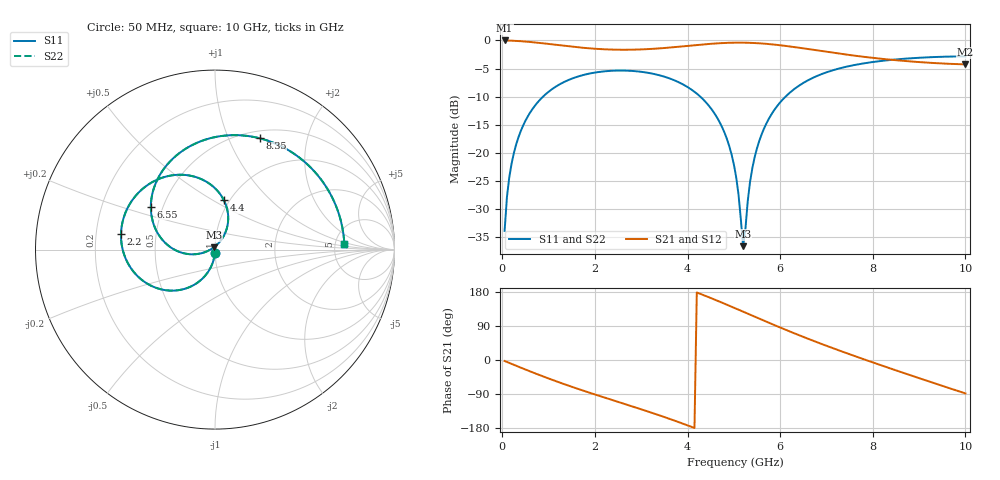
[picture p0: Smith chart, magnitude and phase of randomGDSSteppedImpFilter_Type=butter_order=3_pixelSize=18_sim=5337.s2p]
! freq	dB(S11)	phase(S11)	dB(S12)	phase(S12)
!  dB(S21)	phase(S21)	dB(S22)	phase(S22)
!S-par simulation data
#  GHz  S  DB  R 50
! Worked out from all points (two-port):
!   200 points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, 50 MHz to 10 GHz, reference 50 ohm
!   highest |S21| = 0.00 dB at 50 MHz (marker M1); lowest = -4.3 dB at 10 GHz (marker M2)
!   |S21| within 3 dB of the highest: start of sweep to 7.895 GHz
!   lowest |S11| = -36.6 dB at 5.2 GHz (marker M3), VSWR 1.03, Z = 49.4 + j1.31 ohm
!   |S11| at or under -10 dB: start of sweep to 880.9 MHz; 4.274 GHz to 6.117 GHz (1.843 GHz wide, 35.5 % of centre)
!   |S22| runs from -36.5 to -2.8 dB; largest |S21 - S12| = 0
!   S11 on the Smith chart (normalised r, x): 50 MHz: 1.00, -0.04; 2.2 GHz: 0.31, +0.07; 4.4 GHz: 0.94, +0.56; 6.55 GHz: 0.43, +0.25; 8.35 GHz: 0.58, +1.31; 10 GHz: 6.06, +0.83
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0.05  -33.91 -92.6  -0.00 -2.6  -0.00 -2.6  -33.91 -92.6
0.1  -27.91 -95.3  -0.01 -5.1  -0.01 -5.1  -27.91 -95.3
0.2  -21.95 -100.6  -0.04 -10.2  -0.04 -10.2  -21.95 -100.6
0.5  -14.30 -115.7  -0.20 -25.1  -0.20 -25.1  -14.30 -115.7
1.1  -8.52 -143.9  -0.73 -53.3  -0.73 -53.3  -8.52 -143.9
1.75  -6.15 -171.5  -1.31 -81.0  -1.31 -81.0  -6.15 -171.5
2.2  -5.50 170.6  -1.58 -98.8  -1.58 -98.8  -5.50 170.6
3.4  -6.22 123.5  -1.41 -146.4  -1.41 -146.4  -6.22 123.5
3.95  -8.05 100.1  -1.01 -170.2  -1.01 -170.2  -8.05 100.1
4.4  -11.04 79.9  -0.67 168.6  -0.67 168.6  -11.04 79.9
4.8  -16.45 62.4  -0.45 148.5  -0.45 148.5  -16.45 62.5
5.05  -24.33 57.4  -0.39 135.5  -0.39 135.5  -24.32 57.7
5.2  -36.63 115.4  -0.40 127.6  -0.40 127.6  -36.45 115.7
5.35  -25.19 -165.9  -0.43 119.7  -0.43 119.7  -25.17 -166.3
5.6  -16.72 -169.9  -0.54 106.5  -0.54 106.5  -16.71 -170.0
6  -11.03 172.2  -0.86 85.8  -0.86 85.8  -11.03 172.1
6.55  -7.33 146.2  -1.47 58.5  -1.47 58.5  -7.33 146.2
6.7  -6.68 139.3  -1.65 51.4  -1.65 51.4  -6.68 139.2
7.45  -4.64 106.0  -2.54 17.3  -2.54 17.3  -4.64 105.9
8.35  -3.50 68.2  -3.40 -21.1  -3.40 -21.1  -3.50 68.2
9.25  -2.98 32.0  -3.99 -58.1  -3.99 -58.1  -2.98 32.0
10  -2.84 2.6  -4.26 -88.2  -4.26 -88.2  -2.84 2.6
